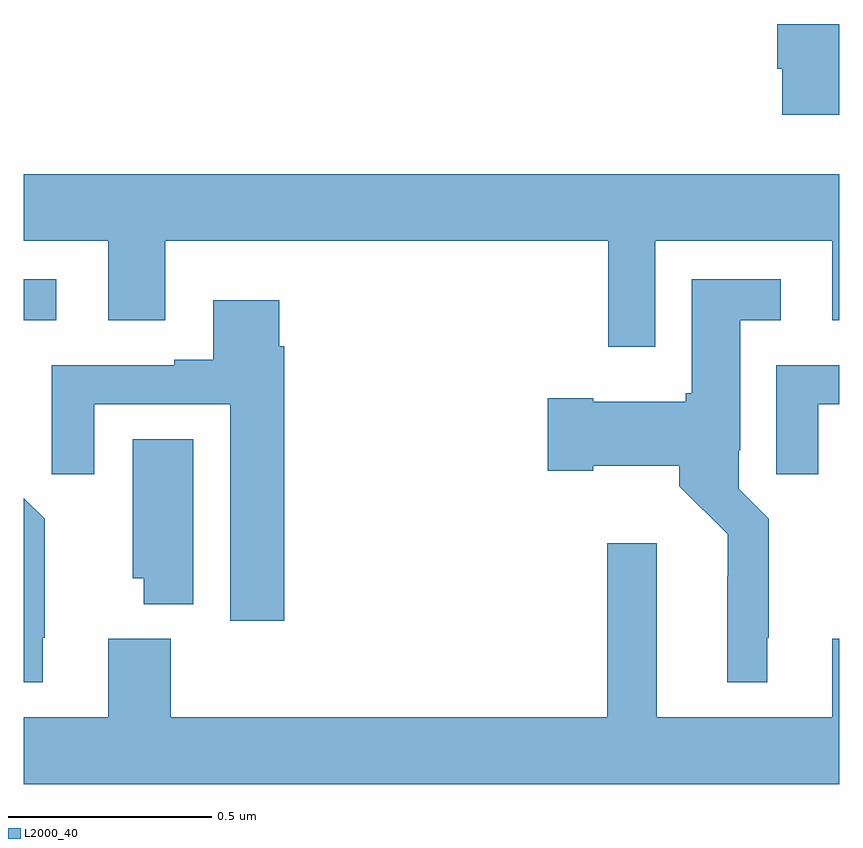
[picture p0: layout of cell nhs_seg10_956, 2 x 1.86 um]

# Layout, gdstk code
import gdstk
lib = gdstk.Library(unit=1e-6, precision=1e-09)
def R(c, l, rs):  # rectangles x0, y0, x1, y1
    for r in rs: c.add(gdstk.rectangle(r[:2], r[2:], *l))
def P(c, l, *ps):  # polygons
    for p in ps: c.add(gdstk.Polygon(p, *l))
L2000_40 = (2000, 40)

nhs_seg10_956 = lib.new_cell('nhs_seg10_956')
R(nhs_seg10_956, L2000_40, [(122,1314.773,122.08,1314.874)])
P(nhs_seg10_956, L2000_40, [(124,1315.5),(123.848,1315.5),(123.848,1315.39),(123.86,1315.39),(123.86,1315.278),(124,1315.278)],
  [(123.549,1314.968),(123.983,1314.968),(123.983,1314.774),(124,1314.774),(124,1315.132),(122,1315.132),(122,1314.968),(122.207,1314.968),(122.207,1314.774),(122.347,1314.774),(122.347,1314.968),(123.433,1314.968),(123.433,1314.708),(123.549,1314.708)],
  [(123.823,1313.995),(123.827,1313.995),(123.827,1314.286),(123.753,1314.36),(123.753,1314.454),(123.757,1314.454),(123.757,1314.773),(123.856,1314.773),(123.856,1314.874),(123.638,1314.874),(123.638,1314.594),(123.624,1314.594),(123.624,1314.574),(123.397,1314.574),(123.397,1314.582),(123.285,1314.582),(123.285,1314.404),(123.397,1314.404),(123.397,1314.416),(123.608,1314.416),(123.608,1314.366),(123.726,1314.248),(123.726,1314.146),(123.725,1314.146),(123.725,1313.885),(123.823,1313.885)],
  [(122.639,1314.71),(122.626,1314.71),(122.626,1314.823),(122.465,1314.823),(122.465,1314.676),(122.369,1314.676),(122.369,1314.663),(122.069,1314.663),(122.069,1314.396),(122.173,1314.396),(122.173,1314.567),(122.507,1314.567),(122.507,1314.036),(122.639,1314.036)],
  [(123.949,1314.567),(124,1314.567),(124,1314.663),(123.845,1314.663),(123.845,1314.396),(123.949,1314.396)],
  [(122.416,1314.482),(122.267,1314.482),(122.267,1314.141),(122.294,1314.141),(122.294,1314.077),(122.416,1314.077)],
  [(122.047,1313.995),(122.051,1313.995),(122.051,1314.286),(122,1314.337),(122,1313.885),(122.047,1313.885)],
  [(124,1313.992),(123.983,1313.992),(123.983,1313.8),(123.553,1313.8),(123.553,1314.226),(123.431,1314.226),(123.431,1313.8),(122.36,1313.8),(122.36,1313.992),(122.207,1313.992),(122.207,1313.8),(122,1313.8),(122,1313.636),(124,1313.636)])

lib.write_gds('nhs_seg10_956.gds')
